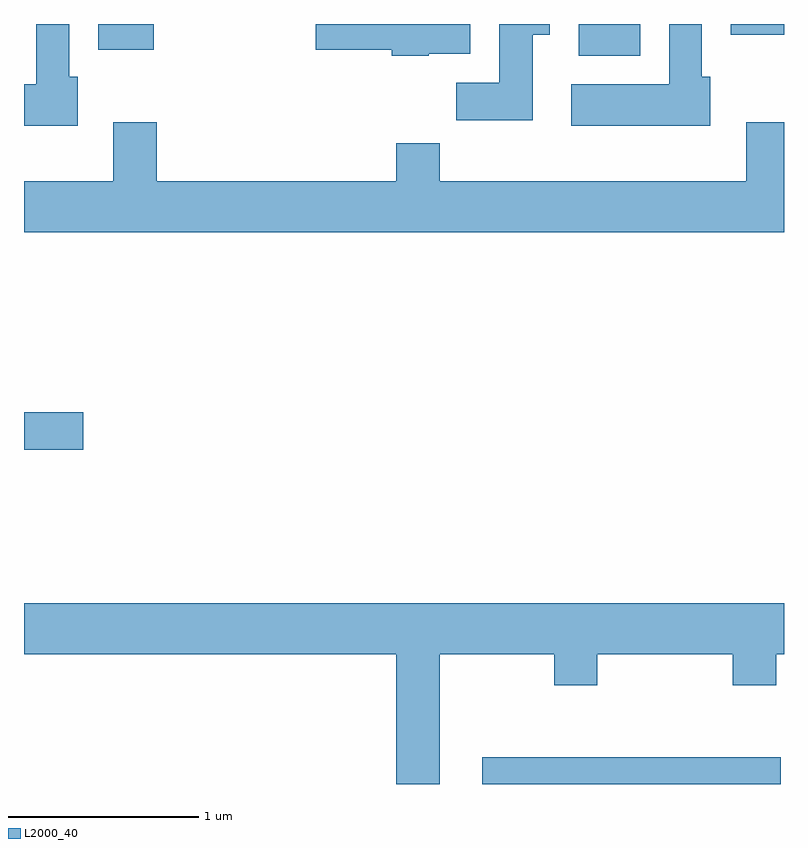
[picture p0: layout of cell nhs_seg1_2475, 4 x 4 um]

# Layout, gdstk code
import gdstk
lib = gdstk.Library(unit=1e-6, precision=1e-09)
def R(c, l, rs):  # rectangles x0, y0, x1, y1
    for r in rs: c.add(gdstk.rectangle(r[:2], r[2:], *l))
def P(c, l, *ps):  # polygons
    for p in ps: c.add(gdstk.Polygon(p, *l))
L2000_40 = (2000, 40)

nhs_seg1_2475 = lib.new_cell('nhs_seg1_2475')
R(nhs_seg1_2475, L2000_40, [(262.022,967.712,263.594,967.854), (259.611,969.471,259.924,969.669), (262.531,971.546,262.854,971.712), (260.001,971.576,260.294,971.712), (263.331,971.656,263.611,971.712)])
P(nhs_seg1_2475, L2000_40, [(262.289,971.656),(262.379,971.656),(262.379,971.712),(262.111,971.712),(262.111,971.404),(261.886,971.404),(261.886,971.206),(262.289,971.206)],
  [(259.894,971.434),(259.849,971.434),(259.849,971.712),(259.676,971.712),(259.676,971.394),(259.611,971.394),(259.611,971.176),(259.894,971.176)],
  [(261.74,971.556),(261.959,971.556),(261.959,971.712),(261.146,971.712),(261.146,971.576),(261.546,971.576),(261.546,971.546),(261.74,971.546)],
  [(263.224,971.434),(263.179,971.434),(263.179,971.712),(263.006,971.712),(263.006,971.394),(262.491,971.394),(262.491,971.176),(263.224,971.176)],
  [(263.611,971.194),(263.411,971.194),(263.411,970.884),(261.799,970.884),(261.799,971.084),(261.571,971.084),(261.571,970.884),(260.309,970.884),(260.309,971.194),(260.081,971.194),(260.081,970.884),(259.611,970.884),(259.611,970.616),(263.611,970.616)],
  [(261.799,968.396),(262.401,968.396),(262.401,968.231),(262.629,968.231),(262.629,968.396),(263.341,968.396),(263.341,968.231),(263.569,968.231),(263.569,968.396),(263.611,968.396),(263.611,968.664),(259.611,968.664),(259.611,968.396),(261.571,968.396),(261.571,967.712),(261.799,967.712)])

lib.write_gds('nhs_seg1_2475.gds')
